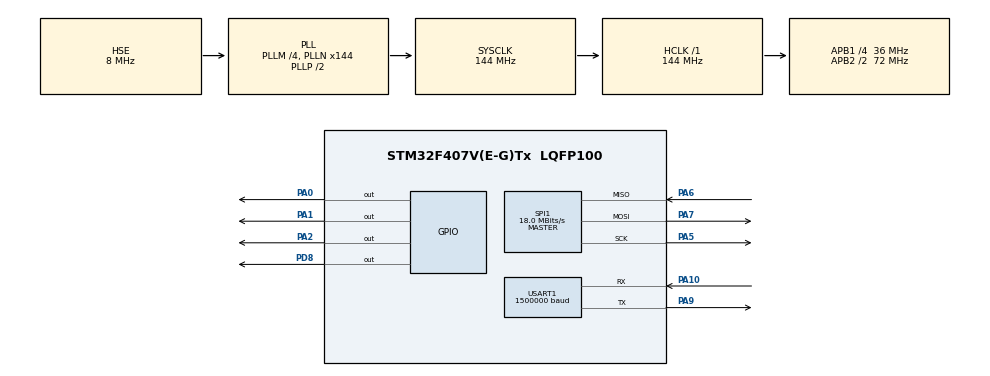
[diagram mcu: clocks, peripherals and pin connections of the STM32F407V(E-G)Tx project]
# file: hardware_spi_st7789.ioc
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Mcu.Family=STM32F4
Mcu.Name=STM32F407V(E-G)Tx
Mcu.Package=LQFP100
NVIC.PriorityGroup=NVIC_PRIORITYGROUP_4
PA0-WKUP.GPIO_Speed=GPIO_SPEED_FREQ_HIGH
PA0-WKUP.PinState=GPIO_PIN_SET
PA0-WKUP.Signal=GPIO_Output
PA1.GPIO_Speed=GPIO_SPEED_FREQ_HIGH
PA1.PinState=GPIO_PIN_SET
PA1.Signal=GPIO_Output
PA13.Mode=Serial_Wire
PA13.Signal=SYS_JTMS-SWDIO
PA14.Mode=Serial_Wire
PA14.Signal=SYS_JTCK-SWCLK
PA2.GPIO_Speed=GPIO_SPEED_FREQ_HIGH
PA2.PinState=GPIO_PIN_SET
PA2.Signal=GPIO_Output
PA10.Mode=Asynchronous
PA10.Signal=USART1_RX
PA9.Mode=Asynchronous
PA9.Signal=USART1_TX
PA5.Mode=Full_Duplex_Master
PA5.Signal=SPI1_SCK
PA6.Mode=Full_Duplex_Master
PA6.Signal=SPI1_MISO
PA7.Mode=Full_Duplex_Master
PA7.Signal=SPI1_MOSI
PD8.PinState=GPIO_PIN_SET
PD8.Signal=GPIO_Output
PH0-OSC_IN.Mode=HSE-External-Oscillator
PH0-OSC_IN.Signal=RCC_OSC_IN
PH1-OSC_OUT.Mode=HSE-External-Oscillator
PH1-OSC_OUT.Signal=RCC_OSC_OUT
ProjectManager.HeapSize=0x200
ProjectManager.StackSize=0x400
ProjectManager.TargetToolchain=MDK-ARM V5.32
RCC.48MHZClocksFreq_Value=72000000
RCC.AHBFreq_Value=144000000
RCC.APB1CLKDivider=RCC_HCLK_DIV4
RCC.APB1Freq_Value=36000000
RCC.APB1TimFreq_Value=72000000
RCC.APB2CLKDivider=RCC_HCLK_DIV2
RCC.APB2Freq_Value=72000000
RCC.APB2TimFreq_Value=144000000
RCC.CortexFreq_Value=144000000
RCC.HCLKFreq_Value=144000000
RCC.HSE_VALUE=8000000
RCC.HSI_VALUE=16000000
RCC.LSE_VALUE=32768
RCC.PLLM=4
RCC.PLLN=144
RCC.PLLSourceVirtual=RCC_PLLSOURCE_HSE
RCC.SYSCLKFreq_VALUE=144000000
RCC.SYSCLKSource=RCC_SYSCLKSOURCE_PLLCLK
RCC.VCOOutputFreq_Value=288000000
SPI1.BaudRatePrescaler=SPI_BAUDRATEPRESCALER_4
SPI1.CLKPhase=SPI_PHASE_2EDGE
SPI1.CLKPolarity=SPI_POLARITY_HIGH
SPI1.CRCCalculation=SPI_CRCCALCULATION_DISABLE
SPI1.CRCPolynomial=10
SPI1.CalculateBaudRate=18.0 MBits/s
SPI1.DataSize=SPI_DATASIZE_8BIT
SPI1.Direction=SPI_DIRECTION_2LINES
SPI1.FirstBit=SPI_FIRSTBIT_MSB
SPI1.Mode=SPI_MODE_MASTER
SPI1.NSS=SPI_NSS_SOFT
SPI1.TIMode=SPI_TIMODE_DISABLE
SPI1.VirtualType=VM_MASTER
USART1.BaudRate=1500000
USART1.HwFlowCtl=UART_HWCONTROL_NONE
USART1.Mode=UART_MODE_TX_RX
USART1.OverSampling=UART_OVERSAMPLING_16
USART1.Parity=UART_PARITY_NONE
USART1.StopBits=UART_STOPBITS_1
USART1.VirtualMode=VM_Asynchronous
USART1.WordLength=UART_WORDLENGTH_8B
board=custom

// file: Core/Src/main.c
/* USER CODE BEGIN Header */
/**
  ******************************************************************************
  * @file           : main.c
  * @brief          : Main program body
  *          Demo 1: orientation test (which side is TOP / BOTTOM).
  *          Demo 2: bouncing ball with simple physics (gravity + restitution),
  *                  running forever. Hardware SPI1 (PA5=SCK, PA7=MOSI).
  ******************************************************************************
  * @attention
  *
  * Copyright (c) 2026 STMicroelectronics.
  * All rights reserved.
  *
  * This software is licensed under terms that can be found in the LICENSE file
  * in the root directory of this software component.
  * If no LICENSE file comes with this software, it is provided AS-IS.
  *
  ******************************************************************************
  */
/* USER CODE END Header */
#include "main.h"
#include "spi.h"
#include "gpio.h"

/* USER CODE BEGIN Includes */
#include "st7789_hspi.h"
#include "usart.h"
#include "video_player.h"
/* USER CODE END Includes */

/* USER CODE BEGIN PTD */
/* (bouncing-ball demo removed: video-only firmware) */
/* USER CODE END PTD */

/* USER CODE BEGIN PD */
/* (ball physics defines removed: video-only firmware) */
/* USER CODE END PD */

void SystemClock_Config(void);
/* USER CODE BEGIN PFP */
static void DrawArrowUp(uint16_t cx, uint16_t tipY, uint16_t size, uint16_t color);
static void DrawArrowDown(uint16_t cx, uint16_t tipY, uint16_t size, uint16_t color);
static void OrientationTest(void);
/* USER CODE END PFP */

/* USER CODE BEGIN 0 */

/* White arrow pointing UP: triangle + shaft. tipY = row of the tip. */
static void DrawArrowUp(uint16_t cx, uint16_t tipY, uint16_t size, uint16_t color)
{
    for (uint16_t i = 0; i <= size; i++)
    {
        uint16_t y = tipY + i;
        uint16_t xa = (cx > i) ? (cx - i) : 0;
        uint16_t xb = cx + i;
        if (xb > 239) xb = 239;
        ST7789_DrawFillRect(xa, y, xb, y, color);
    }
    ST7789_DrawFillRect(cx - size / 4, tipY + size + 1,
                        cx + size / 4, tipY + size * 2, color);
}

/* White arrow pointing DOWN: triangle + shaft. tipY = row of the tip. */
static void DrawArrowDown(uint16_t cx, uint16_t tipY, uint16_t size, uint16_t color)
{
    for (uint16_t i = 0; i <= size; i++)
    {
        uint16_t y = tipY - i;
        uint16_t xa = (cx > i) ? (cx - i) : 0;
        uint16_t xb = cx + i;
        if (xb > 239) xb = 239;
        ST7789_DrawFillRect(xa, y, xb, y, color);
    }
    ST7789_DrawFillRect(cx - size / 4, tipY - size * 2,
                        cx + size / 4, tipY - size - 1, color);
}

/* Orientation test card, shown for ~4 seconds:
 *   TOP edge    = RED bar    + white UP arrow
 *   BOTTOM edge = BLUE bar   + white DOWN arrow
 *   LEFT edge   = GREEN bar, RIGHT edge = YELLOW bar
 * If the RED bar + UP arrow are physically on top, MADCTL (0x36) is correct.
 * If upside down, change ST7789_Init: 0x36 data 0x00 -> 0xC0. */
static void OrientationTest(void)
{
    ST7789_Clear(BLACK);
    ST7789_DrawFillRect(0, 0, 239, 15, RED);      // top marker
    ST7789_DrawFillRect(0, 224, 239, 239, BLUE);   // bottom marker
    ST7789_DrawFillRect(0, 0, 15, 239, GREEN);     // left marker
    ST7789_DrawFillRect(224, 0, 239, 239, YELLOW); // right marker
    DrawArrowUp(120, 40, 22, WHITE);               // "this way is UP"
    DrawArrowDown(120, 199, 22, WHITE);            // "this way is DOWN"
    ST7789_DrawFillCircle(120, 120, 14, WHITE);    // center reference
    HAL_Delay(4000);
}

/* USER CODE END 0 */

int main(void)
{

  /* MCU Configuration--------------------------------------------------------*/

  /* Reset of all peripherals, Initializes the Flash interface and the Systick. */
  HAL_Init();

  /* Configure the system clock */
  SystemClock_Config();

  /* Initialize all configured peripherals */
  MX_GPIO_Init();
  MX_SPI1_Init();
  MX_USART1_UART_Init();
  /* USER CODE BEGIN 2 */
  ST7789_Init();
  OrientationTest();  // 4-second direction card
  ST7789_Clear(BLACK); // card done -> black screen while waiting
  /* Video-only firmware: wait for the PC stream forever, then play.
   * If the PC stops, the last frame stays and we keep waiting. */
  Video_WaitForStream(0xFFFFFFFFUL);
  Video_Loop();       // never returns
  /* USER CODE END 2 */

  /* Infinite loop */
  while (1)
  {

  }
}

void SystemClock_Config(void)
{
  RCC_OscInitTypeDef RCC_OscInitStruct = {0};
  RCC_ClkInitTypeDef RCC_ClkInitStruct = {0};

  /** Configure the main internal regulator output voltage
  */
  __HAL_RCC_PWR_CLK_ENABLE();
  __HAL_PWR_VOLTAGESCALING_CONFIG(PWR_REGULATOR_VOLTAGE_SCALE1);

  /** Initializes the RCC Oscillators according to the specified parameters
  * in the RCC_OscInitTypeDef structure.
  */
  RCC_OscInitStruct.OscillatorType = RCC_OSCILLATORTYPE_HSE;
  RCC_OscInitStruct.HSEState = RCC_HSE_ON;
  RCC_OscInitStruct.PLL.PLLState = RCC_PLL_ON;
  RCC_OscInitStruct.PLL.PLLSource = RCC_PLLSOURCE_HSE;
  RCC_OscInitStruct.PLL.PLLM = 4;
  RCC_OscInitStruct.PLL.PLLN = 144;
  RCC_OscInitStruct.PLL.PLLP = RCC_PLLP_DIV2;
  RCC_OscInitStruct.PLL.PLLQ = 4;
  if (HAL_RCC_OscConfig(&RCC_OscInitStruct) != HAL_OK)
  {
    Error_Handler();
  }

  /** Initializes the CPU, AHB and APB buses clocks
  */
  RCC_ClkInitStruct.ClockType = RCC_CLOCKTYPE_HCLK|RCC_CLOCKTYPE_SYSCLK
                              |RCC_CLOCKTYPE_PCLK1|RCC_CLOCKTYPE_PCLK2;
  RCC_ClkInitStruct.SYSCLKSource = RCC_SYSCLKSOURCE_PLLCLK;
  RCC_ClkInitStruct.AHBCLKDivider = RCC_SYSCLK_DIV1;
  RCC_ClkInitStruct.APB1CLKDivider = RCC_HCLK_DIV4;
  RCC_ClkInitStruct.APB2CLKDivider = RCC_HCLK_DIV2;

  if (HAL_RCC_ClockConfig(&RCC_ClkInitStruct, FLASH_LATENCY_4) != HAL_OK)
  {
    Error_Handler();
  }
}

void Error_Handler(void)
{
  __disable_irq();
  while (1)
  {
  }
}
